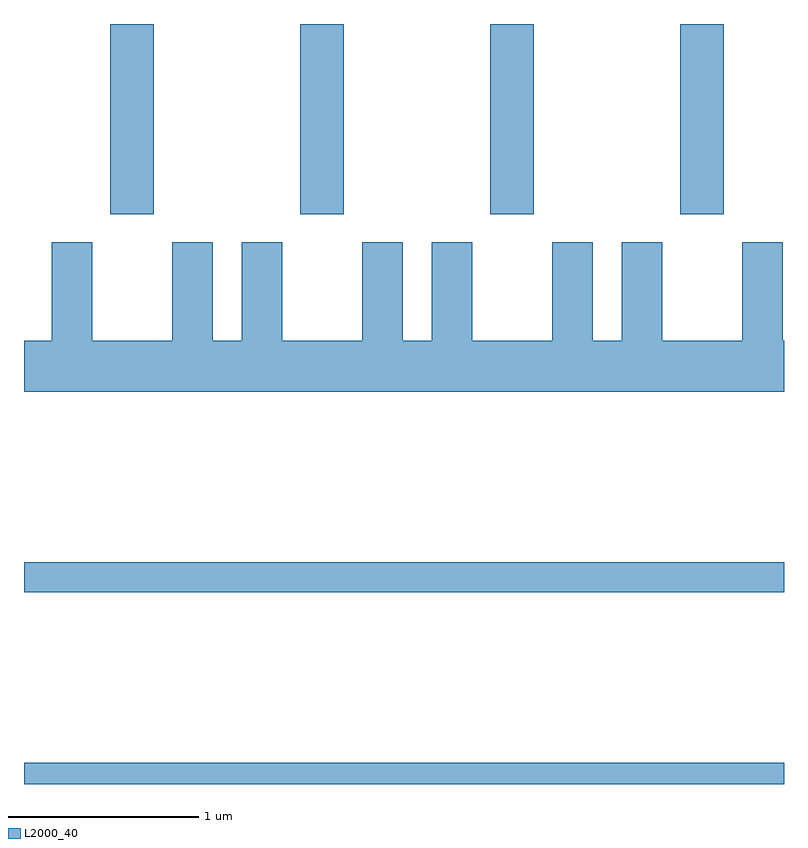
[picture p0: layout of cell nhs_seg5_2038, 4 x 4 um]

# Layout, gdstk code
import gdstk
lib = gdstk.Library(unit=1e-6, precision=1e-09)
def R(c, l, rs):  # rectangles x0, y0, x1, y1
    for r in rs: c.add(gdstk.rectangle(r[:2], r[2:], *l))
def A(c, l, x, y, w, h, nx, ny, dx, dy):  # array of equal rectangles
    R(c, l, [(x+i*dx, y+j*dy, x+i*dx+w, y+j*dy+h) for i in range(nx) for j in range(ny)])
def P(c, l, *ps):  # polygons
    for p in ps: c.add(gdstk.Polygon(p, *l))
L2000_40 = (2000, 40)

nhs_seg5_2038 = lib.new_cell('nhs_seg5_2038')
A(nhs_seg5_2038, L2000_40, 246.066, 1451.071, 0.228, 1.001, 4, 1, 1, 0)
R(nhs_seg5_2038, L2000_40, [(245.611,1448.072,249.611,1448.184), (245.611,1449.081,249.611,1449.239)])
P(nhs_seg5_2038, L2000_40, [(249.611,1450.404),(249.604,1450.404),(249.604,1450.924),(249.391,1450.924),(249.391,1450.404),(248.969,1450.404),(248.969,1450.924),(248.756,1450.924),(248.756,1450.404),(248.604,1450.404),(248.604,1450.924),(248.391,1450.924),(248.391,1450.404),(247.969,1450.404),(247.969,1450.924),(247.756,1450.924),(247.756,1450.404),(247.604,1450.404),(247.604,1450.924),(247.391,1450.924),(247.391,1450.404),(246.969,1450.404),(246.969,1450.924),(246.756,1450.924),(246.756,1450.404),(246.604,1450.404),(246.604,1450.924),(246.391,1450.924),(246.391,1450.404),(245.969,1450.404),(245.969,1450.924),(245.756,1450.924),(245.756,1450.404),(245.611,1450.404),(245.611,1450.136),(249.611,1450.136)])

lib.write_gds('nhs_seg5_2038.gds')
